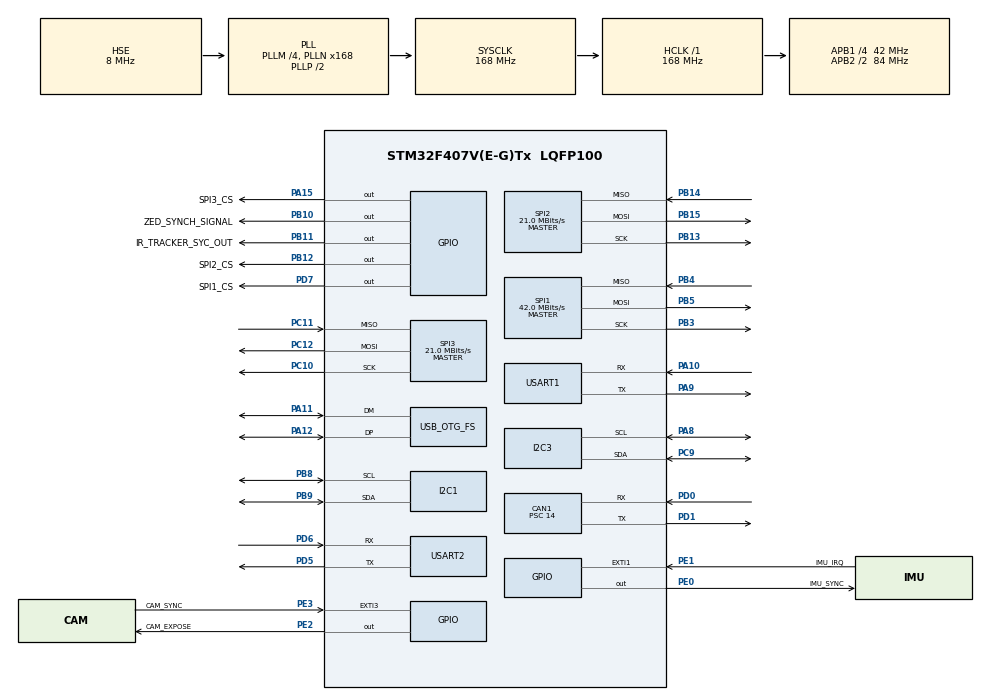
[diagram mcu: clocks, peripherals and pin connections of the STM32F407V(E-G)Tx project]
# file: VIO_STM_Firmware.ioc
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CAN1.BS1=CAN_BS1_3TQ
CAN1.BS2=CAN_BS2_2TQ
CAN1.CalculateTimeQuantum=333.33333333333337
CAN1.Prescaler=14
CAN1.SJW=CAN_SJW_2TQ
Mcu.Family=STM32F4
Mcu.Name=STM32F407V(E-G)Tx
Mcu.Package=LQFP100
NVIC.EXTI1_IRQn=true\:0\:0\:false\:false\:true\:true\:true
NVIC.EXTI3_IRQn=true\:0\:0\:false\:false\:true\:true\:true
NVIC.OTG_FS_IRQn=true\:0\:0\:false\:false\:true\:false\:true
NVIC.PriorityGroup=NVIC_PRIORITYGROUP_4
NVIC.TIM8_TRG_COM_TIM14_IRQn=true\:0\:0\:false\:false\:true\:true\:true
PA10.Mode=Asynchronous
PA10.Signal=USART1_RX
PA11.Mode=Device_Only
PA11.Signal=USB_OTG_FS_DM
PA12.Mode=Device_Only
PA12.Signal=USB_OTG_FS_DP
PA13.Mode=Serial_Wire
PA13.Signal=SYS_JTMS-SWDIO
PA14.Mode=Serial_Wire
PA14.Signal=SYS_JTCK-SWCLK
PA15.GPIO_Label=SPI3_CS
PA15.Signal=GPIO_Output
PA8.Mode=I2C
PA8.Signal=I2C3_SCL
PA9.Mode=Asynchronous
PA9.Signal=USART1_TX
PB10.GPIO_Label=ZED_SYNCH_SIGNAL
PB10.Signal=GPIO_Output
PB11.GPIO_Label=IR_TRACKER_SYC_OUT
PB11.Signal=GPIO_Output
PB12.GPIO_Label=SPI2_CS
PB12.Signal=GPIO_Output
PB13.Mode=Full_Duplex_Master
PB13.Signal=SPI2_SCK
PB14.Mode=Full_Duplex_Master
PB14.Signal=SPI2_MISO
PB15.Mode=Full_Duplex_Master
PB15.Signal=SPI2_MOSI
PB3.Mode=Full_Duplex_Master
PB3.Signal=SPI1_SCK
PB4.Mode=Full_Duplex_Master
PB4.Signal=SPI1_MISO
PB5.Mode=Full_Duplex_Master
PB5.Signal=SPI1_MOSI
PB8.Mode=I2C
PB8.Signal=I2C1_SCL
PB9.Mode=I2C
PB9.Signal=I2C1_SDA
PC10.Mode=Full_Duplex_Master
PC10.Signal=SPI3_SCK
PC11.Mode=Full_Duplex_Master
PC11.Signal=SPI3_MISO
PC12.Mode=Full_Duplex_Master
PC12.Signal=SPI3_MOSI
PC9.Mode=I2C
PC9.Signal=I2C3_SDA
PD0.Mode=Master
PD0.Signal=CAN1_RX
PD1.Mode=Master
PD1.Signal=CAN1_TX
PD5.Mode=Asynchronous
PD5.Signal=USART2_TX
PD6.Mode=Asynchronous
PD6.Signal=USART2_RX
PD7.GPIO_Label=SPI1_CS
PD7.Signal=GPIO_Output
PE0.GPIO_Label=IMU_SYNC
PE0.Signal=GPIO_Output
PE1.GPIO_Label=IMU_IRQ
PE1.GPIO_ModeDefaultEXTI=GPIO_MODE_IT_FALLING
PE1.GPIO_PuPd=GPIO_PULLUP
PE1.Signal=GPXTI1
PE2.GPIO_Label=CAM_EXPOSE
PE2.Signal=GPIO_Output
PE3.GPIO_Label=CAM_SYNC
PE3.Signal=GPXTI3
PH0-OSC_IN.Mode=HSE-External-Oscillator
PH0-OSC_IN.Signal=RCC_OSC_IN
PH1-OSC_OUT.Mode=HSE-External-Oscillator
PH1-OSC_OUT.Signal=RCC_OSC_OUT
ProjectManager.HeapSize=0x1000
ProjectManager.StackSize=0x1000
ProjectManager.TargetToolchain=MDK-ARM V5
RCC.48MHZClocksFreq_Value=48000000
RCC.AHBFreq_Value=168000000
RCC.APB1CLKDivider=RCC_HCLK_DIV4
RCC.APB1Freq_Value=42000000
RCC.APB1TimFreq_Value=84000000
RCC.APB2CLKDivider=RCC_HCLK_DIV2
RCC.APB2Freq_Value=84000000
RCC.APB2TimFreq_Value=168000000
RCC.CortexFreq_Value=168000000
RCC.HCLKFreq_Value=168000000
RCC.HSE_VALUE=8000000
RCC.HSI_VALUE=16000000
RCC.LSE_VALUE=32768
RCC.PLLM=4
RCC.PLLN=168
RCC.PLLQ=7
RCC.SYSCLKFreq_VALUE=168000000
RCC.SYSCLKSource=RCC_SYSCLKSOURCE_PLLCLK
RCC.VCOOutputFreq_Value=336000000
SPI1.BaudRatePrescaler=SPI_BAUDRATEPRESCALER_2
SPI1.CalculateBaudRate=42.0 MBits/s
SPI1.Direction=SPI_DIRECTION_2LINES
SPI1.Mode=SPI_MODE_MASTER
SPI1.VirtualType=VM_MASTER
SPI2.BaudRatePrescaler=SPI_BAUDRATEPRESCALER_2
SPI2.CalculateBaudRate=21.0 MBits/s
SPI2.Direction=SPI_DIRECTION_2LINES
SPI2.Mode=SPI_MODE_MASTER
SPI2.VirtualType=VM_MASTER
SPI3.BaudRatePrescaler=SPI_BAUDRATEPRESCALER_2
SPI3.CalculateBaudRate=21.0 MBits/s
SPI3.Direction=SPI_DIRECTION_2LINES
SPI3.Mode=SPI_MODE_MASTER
SPI3.VirtualType=VM_MASTER
TIM14.Period=64999
TIM14.Prescaler=83
USART1.VirtualMode=VM_ASYNC
USART2.VirtualMode=VM_ASYNC
USB_DEVICE.APP_RX_DATA_SIZE-CDC_FS=2048
USB_DEVICE.APP_TX_DATA_SIZE-CDC_FS=2048
USB_DEVICE.CLASS_NAME_FS=CDC
USB_DEVICE.USBD_MAX_NUM_CONFIGURATION-CDC_FS=2
USB_DEVICE.USBD_MAX_NUM_INTERFACES-CDC_FS=2
USB_DEVICE.VirtualMode-CDC_FS=Cdc
USB_DEVICE.VirtualModeFS=Cdc_FS
USB_OTG_FS.VirtualMode=Device_Only
VP_TIM14_VS_ClockSourceINT.Mode=Enable_Timer
VP_USB_DEVICE_VS_USB_DEVICE_CDC_FS.Mode=CDC_FS
board=custom

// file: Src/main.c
/* USER CODE BEGIN Header */
/**
  ******************************************************************************
  * @file           : main.c
  * @brief          : Main program body
  ******************************************************************************
  * @attention
  *
  * <h2><center>&copy; Copyright (c) 2019 STMicroelectronics.
  * All rights reserved.</center></h2>
  *
  * This software component is licensed by ST under Ultimate Liberty license
  * SLA0044, the "License"; You may not use this file except in compliance with
  * the License. You may obtain a copy of the License at:
  *                             www.st.com/SLA0044
  *
  ******************************************************************************
  */
/* USER CODE END Header */

#include "main.h"
#include "usb_device.h"

/* USER CODE BEGIN Includes */
#include "MPU9250_SPI.h"
#include "time_keeper.h"
#include "usbd_cdc_if.h"
#include "mt9v034.h"
/* USER CODE END Includes */

CAN_HandleTypeDef hcan1;

I2C_HandleTypeDef hi2c1;
I2C_HandleTypeDef hi2c3;

SPI_HandleTypeDef hspi1;
SPI_HandleTypeDef hspi2;
SPI_HandleTypeDef hspi3;

TIM_HandleTypeDef htim14;

UART_HandleTypeDef huart1;
UART_HandleTypeDef huart2;

/* USER CODE BEGIN PV */
CAN_RxHeaderTypeDef RMess;
CAN_TxHeaderTypeDef TMess;
uint8_t testRxBuffer[32];
uint8_t TxData[8] = {0};
uint32_t TxMailBox;
uint32_t len=0;
volatile int IMU_DATA_READY_FLAG=0;
  char outdata[100];
		struct mpuSensorData sensorData;
	struct DPL{
		int8_t h1;
		int8_t h2;
	  int8_t h3;
		int8_t h4;
		struct mpuSensorData Data;
		int64_t cameraTimeStamp;
		int64_t imuTimeStamp;
		int32_t togglingField;
	};
	union{
		struct DPL Data;
		uint8_t buffer[24+16 +4]; // 16 is added to acount for the Time stamps
	  }Packet;
/* USER CODE END PV */

void SystemClock_Config(void);
static void MX_GPIO_Init(void);
static void MX_CAN1_Init(void);
static void MX_I2C1_Init(void);
static void MX_I2C3_Init(void);
static void MX_SPI1_Init(void);
static void MX_SPI2_Init(void);
static void MX_SPI3_Init(void);
static void MX_USART1_UART_Init(void);
static void MX_USART2_UART_Init(void);
static void MX_TIM14_Init(void);

int main(void)
{
  /* USER CODE BEGIN 1 */
		uint8_t outdata[8];
	struct mpuSensorData sensorData;
	struct DPL{
		int16_t h1;
		int16_t h2;
		struct mpuSensorData Data;
	};

	union{
	struct{
		int16_t a;
		int16_t b;
		int16_t c;
		int16_t tmp;
	}Data;
	uint8_t buffer[8];
	}IMU_Mess;

	TMess.RTR = CAN_RTR_DATA;
  TMess.IDE = CAN_ID_STD;
  TMess.DLC = 0x2;
	TMess.StdId=0x1;
	TMess.TransmitGlobalTime = DISABLE;

  /* USER CODE END 1 */

  /* MCU Configuration--------------------------------------------------------*/

  /* Reset of all peripherals, Initializes the Flash interface and the Systick. */
  HAL_Init();

  /* Configure the system clock */
  SystemClock_Config();

  /* Initialize all configured peripherals */
  MX_GPIO_Init();
  MX_CAN1_Init();
  MX_I2C1_Init();
  MX_I2C3_Init();
  MX_SPI1_Init();
  MX_SPI2_Init();
  MX_SPI3_Init();
  MX_USART1_UART_Init();
  MX_USART2_UART_Init();
  MX_USB_DEVICE_Init();
  MX_TIM14_Init();
  /* USER CODE BEGIN 2 */
	NSS_HIGH;
	uint8_t data=00;
	HAL_SPI_Transmit(&hspi1,&data,1,100); //init the spi interface pin states
	HAL_Delay(10);
	mpuBegin();
  Packet.Data.togglingField=0;
	HAL_Delay(10);
	enableDataReadyInterrupt();
	timeManagerInit(&htim14); //Start the time manager stack for creating time stamps
	HAL_GPIO_WritePin(ZED_SYNCH_SIGNAL_GPIO_Port,ZED_SYNCH_SIGNAL_Pin,GPIO_PIN_SET);
	if (HAL_CAN_Start(&hcan1) != HAL_OK)
  {
    Error_Handler();
  }
	CAN_FilterTypeDef  sFilterConfig;
	sFilterConfig.FilterBank = 0;
  sFilterConfig.FilterMode = CAN_FILTERMODE_IDMASK;
  sFilterConfig.FilterScale = CAN_FILTERSCALE_32BIT;
  sFilterConfig.FilterIdHigh = 0x0000;
  sFilterConfig.FilterIdLow = 0x0000;
  sFilterConfig.FilterMaskIdHigh = 0x0000;
  sFilterConfig.FilterMaskIdLow = 0x0000;
  sFilterConfig.FilterFIFOAssignment = CAN_RX_FIFO0;
  sFilterConfig.FilterActivation = ENABLE;

	if (HAL_CAN_ConfigFilter(&hcan1, &sFilterConfig) != HAL_OK)
  {
    Error_Handler();
  }
	int cntr=0,cntr2=0;
	//Set Camera Parameters
	SNAPSHOT_MODE_Enable();
	AGC_AEC_DISABLE();
	SET_EXPOSURE(240);
	SET_DIGITAL_GAIN(12);
	SET_ANALOG_GAIN(30);
  /* USER CODE END 2 */

  /* Infinite loop */
  while (1)
  {

    /* USER CODE BEGIN 3 */
		if(IMU_DATA_READY_FLAG)//IMU Data is ready, send the data through the USB Port
		{
			IMU_DATA_READY_FLAG=0;
			mpuReadSensor(&sensorData);
		  Packet.Data.Data=sensorData;
			Packet.Data.imuTimeStamp=IMU_TimeStamp();
			Packet.Data.cameraTimeStamp=Camera_TimeStamp();
			Packet.Data.h1='a';
			Packet.Data.h2='b';
			Packet.Data.h3='c';
			Packet.Data.h4='\n';
			IMU_Mess.Data.tmp=0;
			cntr++;
			cntr2++;
			HAL_GPIO_WritePin(ZED_SYNCH_SIGNAL_GPIO_Port,ZED_SYNCH_SIGNAL_Pin,GPIO_PIN_SET);
			HAL_GPIO_WritePin(CAM_EXPOSE_GPIO_Port,CAM_EXPOSE_Pin,GPIO_PIN_RESET);
			HAL_GPIO_WritePin(IR_TRACKER_SYC_OUT_GPIO_Port,IR_TRACKER_SYC_OUT_Pin,GPIO_PIN_RESET);
			if(cntr==40)
			{
				cntr=0;
				HAL_GPIO_WritePin(CAM_EXPOSE_GPIO_Port,CAM_EXPOSE_Pin,GPIO_PIN_SET);
				HAL_GPIO_WritePin(ZED_SYNCH_SIGNAL_GPIO_Port,ZED_SYNCH_SIGNAL_Pin,GPIO_PIN_RESET);
				HAL_GPIO_WritePin(IR_TRACKER_SYC_OUT_GPIO_Port,IR_TRACKER_SYC_OUT_Pin,GPIO_PIN_SET);
				Packet.Data.togglingField=~Packet.Data.togglingField;
				if(IMU_Mess.Data.tmp==0)
					IMU_Mess.Data.tmp=1;
				else
					IMU_Mess.Data.tmp=0;
			}
			//if(cntr2==5)
			//{
				//cntr2=0;
				CDC_Transmit_FS(Packet.buffer,sizeof(Packet.buffer));
			//}

				if(HAL_CAN_GetTxMailboxesFreeLevel(&hcan1)>2)
				{
					TMess.DLC=sizeof(IMU_Mess.buffer);
					TMess.StdId=0x01; //Accelerometer
					IMU_Mess.Data.a=sensorData.ax;
					IMU_Mess.Data.b=sensorData.ay;
					IMU_Mess.Data.c=sensorData.az;
					memcpy((uint8_t*)outdata,IMU_Mess.buffer,sizeof(IMU_Mess.buffer));
					if(HAL_CAN_AddTxMessage(&hcan1, &TMess, outdata, &TxMailBox)!=HAL_OK){Error_Handler();}
					TMess.DLC=sizeof(IMU_Mess.buffer);
					TMess.StdId=0x02; //gyroscope
					IMU_Mess.Data.a=sensorData.gx;
					IMU_Mess.Data.b=sensorData.gy;
					IMU_Mess.Data.c=sensorData.gz;
					memcpy((uint8_t*)outdata,IMU_Mess.buffer,sizeof(IMU_Mess.buffer));
					if(HAL_CAN_AddTxMessage(&hcan1, &TMess, outdata, &TxMailBox)!=HAL_OK){Error_Handler();}
					TMess.DLC=sizeof(IMU_Mess.buffer);
					TMess.StdId=0x03; //magnetometer
					IMU_Mess.Data.a=sensorData.hx;
					IMU_Mess.Data.b=sensorData.hy;
					IMU_Mess.Data.c=sensorData.hz;
					memcpy((uint8_t*)outdata,IMU_Mess.buffer,sizeof(IMU_Mess.buffer));
					if(HAL_CAN_AddTxMessage(&hcan1, &TMess, outdata, &TxMailBox)!=HAL_OK){Error_Handler();}
					//TMess.DLC=sizeof(Barometer_Mess.buffer);
					//TMess.StdId=0x04; //barometer
					//Barometer_Mess.Data.barometer=35;
					//memcpy((uint8_t*)outdata,Barometer_Mess.buffer,sizeof(Barometer_Mess.buffer));
					//while(HAL_CAN_GetTxMailboxesFreeLevel(&hcan1)==0);
			}
		}
  }
  /* USER CODE END 3 */
}

void SystemClock_Config(void)
{
  RCC_OscInitTypeDef RCC_OscInitStruct = {0};
  RCC_ClkInitTypeDef RCC_ClkInitStruct = {0};

  /** Configure the main internal regulator output voltage
  */
  __HAL_RCC_PWR_CLK_ENABLE();
  __HAL_PWR_VOLTAGESCALING_CONFIG(PWR_REGULATOR_VOLTAGE_SCALE1);
  /** Initializes the CPU, AHB and APB busses clocks
  */
  RCC_OscInitStruct.OscillatorType = RCC_OSCILLATORTYPE_HSE;
  RCC_OscInitStruct.HSEState = RCC_HSE_ON;
  RCC_OscInitStruct.PLL.PLLState = RCC_PLL_ON;
  RCC_OscInitStruct.PLL.PLLSource = RCC_PLLSOURCE_HSE;
  RCC_OscInitStruct.PLL.PLLM = 4;
  RCC_OscInitStruct.PLL.PLLN = 168;
  RCC_OscInitStruct.PLL.PLLP = RCC_PLLP_DIV2;
  RCC_OscInitStruct.PLL.PLLQ = 7;
  if (HAL_RCC_OscConfig(&RCC_OscInitStruct) != HAL_OK)
  {
    Error_Handler();
  }
  /** Initializes the CPU, AHB and APB busses clocks
  */
  RCC_ClkInitStruct.ClockType = RCC_CLOCKTYPE_HCLK|RCC_CLOCKTYPE_SYSCLK
                              |RCC_CLOCKTYPE_PCLK1|RCC_CLOCKTYPE_PCLK2;
  RCC_ClkInitStruct.SYSCLKSource = RCC_SYSCLKSOURCE_PLLCLK;
  RCC_ClkInitStruct.AHBCLKDivider = RCC_SYSCLK_DIV1;
  RCC_ClkInitStruct.APB1CLKDivider = RCC_HCLK_DIV4;
  RCC_ClkInitStruct.APB2CLKDivider = RCC_HCLK_DIV2;

  if (HAL_RCC_ClockConfig(&RCC_ClkInitStruct, FLASH_LATENCY_5) != HAL_OK)
  {
    Error_Handler();
  }
}

static void MX_CAN1_Init(void)
{

  hcan1.Instance = CAN1;
  hcan1.Init.Prescaler = 14;
  hcan1.Init.Mode = CAN_MODE_NORMAL;
  hcan1.Init.SyncJumpWidth = CAN_SJW_2TQ;
  hcan1.Init.TimeSeg1 = CAN_BS1_3TQ;
  hcan1.Init.TimeSeg2 = CAN_BS2_2TQ;
  hcan1.Init.TimeTriggeredMode = DISABLE;
  hcan1.Init.AutoBusOff = DISABLE;
  hcan1.Init.AutoWakeUp = DISABLE;
  hcan1.Init.AutoRetransmission = DISABLE;
  hcan1.Init.ReceiveFifoLocked = DISABLE;
  hcan1.Init.TransmitFifoPriority = DISABLE;
  if (HAL_CAN_Init(&hcan1) != HAL_OK)
  {
    Error_Handler();
  }

}

static void MX_I2C1_Init(void)
{

  hi2c1.Instance = I2C1;
  hi2c1.Init.ClockSpeed = 100000;
  hi2c1.Init.DutyCycle = I2C_DUTYCYCLE_2;
  hi2c1.Init.OwnAddress1 = 0;
  hi2c1.Init.AddressingMode = I2C_ADDRESSINGMODE_7BIT;
  hi2c1.Init.DualAddressMode = I2C_DUALADDRESS_DISABLE;
  hi2c1.Init.OwnAddress2 = 0;
  hi2c1.Init.GeneralCallMode = I2C_GENERALCALL_DISABLE;
  hi2c1.Init.NoStretchMode = I2C_NOSTRETCH_DISABLE;
  if (HAL_I2C_Init(&hi2c1) != HAL_OK)
  {
    Error_Handler();
  }

}

static void MX_I2C3_Init(void)
{

  hi2c3.Instance = I2C3;
  hi2c3.Init.ClockSpeed = 100000;
  hi2c3.Init.DutyCycle = I2C_DUTYCYCLE_2;
  hi2c3.Init.OwnAddress1 = 0;
  hi2c3.Init.AddressingMode = I2C_ADDRESSINGMODE_7BIT;
  hi2c3.Init.DualAddressMode = I2C_DUALADDRESS_DISABLE;
  hi2c3.Init.OwnAddress2 = 0;
  hi2c3.Init.GeneralCallMode = I2C_GENERALCALL_DISABLE;
  hi2c3.Init.NoStretchMode = I2C_NOSTRETCH_DISABLE;
  if (HAL_I2C_Init(&hi2c3) != HAL_OK)
  {
    Error_Handler();
  }

}

static void MX_SPI1_Init(void)
{

  /* SPI1 parameter configuration*/
  hspi1.Instance = SPI1;
  hspi1.Init.Mode = SPI_MODE_MASTER;
  hspi1.Init.Direction = SPI_DIRECTION_2LINES;
  hspi1.Init.DataSize = SPI_DATASIZE_8BIT;
  hspi1.Init.CLKPolarity = SPI_POLARITY_LOW;
  hspi1.Init.CLKPhase = SPI_PHASE_1EDGE;
  hspi1.Init.NSS = SPI_NSS_SOFT;
  hspi1.Init.BaudRatePrescaler = SPI_BAUDRATEPRESCALER_2;
  hspi1.Init.FirstBit = SPI_FIRSTBIT_MSB;
  hspi1.Init.TIMode = SPI_TIMODE_DISABLE;
  hspi1.Init.CRCCalculation = SPI_CRCCALCULATION_DISABLE;
  hspi1.Init.CRCPolynomial = 10;
  if (HAL_SPI_Init(&hspi1) != HAL_OK)
  {
    Error_Handler();
  }

}

static void MX_SPI2_Init(void)
{

  /* SPI2 parameter configuration*/
  hspi2.Instance = SPI2;
  hspi2.Init.Mode = SPI_MODE_MASTER;
  hspi2.Init.Direction = SPI_DIRECTION_2LINES;
  hspi2.Init.DataSize = SPI_DATASIZE_8BIT;
  hspi2.Init.CLKPolarity = SPI_POLARITY_LOW;
  hspi2.Init.CLKPhase = SPI_PHASE_1EDGE;
  hspi2.Init.NSS = SPI_NSS_SOFT;
  hspi2.Init.BaudRatePrescaler = SPI_BAUDRATEPRESCALER_2;
  hspi2.Init.FirstBit = SPI_FIRSTBIT_MSB;
  hspi2.Init.TIMode = SPI_TIMODE_DISABLE;
  hspi2.Init.CRCCalculation = SPI_CRCCALCULATION_DISABLE;
  hspi2.Init.CRCPolynomial = 10;
  if (HAL_SPI_Init(&hspi2) != HAL_OK)
  {
    Error_Handler();
  }

}

static void MX_SPI3_Init(void)
{

  /* SPI3 parameter configuration*/
  hspi3.Instance = SPI3;
  hspi3.Init.Mode = SPI_MODE_MASTER;
  hspi3.Init.Direction = SPI_DIRECTION_2LINES;
  hspi3.Init.DataSize = SPI_DATASIZE_8BIT;
  hspi3.Init.CLKPolarity = SPI_POLARITY_LOW;
  hspi3.Init.CLKPhase = SPI_PHASE_1EDGE;
  hspi3.Init.NSS = SPI_NSS_SOFT;
  hspi3.Init.BaudRatePrescaler = SPI_BAUDRATEPRESCALER_2;
  hspi3.Init.FirstBit = SPI_FIRSTBIT_MSB;
  hspi3.Init.TIMode = SPI_TIMODE_DISABLE;
  hspi3.Init.CRCCalculation = SPI_CRCCALCULATION_DISABLE;
  hspi3.Init.CRCPolynomial = 10;
  if (HAL_SPI_Init(&hspi3) != HAL_OK)
  {
    Error_Handler();
  }

}

static void MX_TIM14_Init(void)
{

  htim14.Instance = TIM14;
  htim14.Init.Prescaler = 83;
  htim14.Init.CounterMode = TIM_COUNTERMODE_UP;
  htim14.Init.Period = 64999;
  htim14.Init.ClockDivision = TIM_CLOCKDIVISION_DIV1;
  htim14.Init.AutoReloadPreload = TIM_AUTORELOAD_PRELOAD_DISABLE;
  if (HAL_TIM_Base_Init(&htim14) != HAL_OK)
  {
    Error_Handler();
  }

}

static void MX_USART1_UART_Init(void)
{

  huart1.Instance = USART1;
  huart1.Init.BaudRate = 115200;
  huart1.Init.WordLength = UART_WORDLENGTH_8B;
  huart1.Init.StopBits = UART_STOPBITS_1;
  huart1.Init.Parity = UART_PARITY_NONE;
  huart1.Init.Mode = UART_MODE_TX_RX;
  huart1.Init.HwFlowCtl = UART_HWCONTROL_NONE;
  huart1.Init.OverSampling = UART_OVERSAMPLING_16;
  if (HAL_UART_Init(&huart1) != HAL_OK)
  {
    Error_Handler();
  }

}

static void MX_USART2_UART_Init(void)
{

  huart2.Instance = USART2;
  huart2.Init.BaudRate = 115200;
  huart2.Init.WordLength = UART_WORDLENGTH_8B;
  huart2.Init.StopBits = UART_STOPBITS_1;
  huart2.Init.Parity = UART_PARITY_NONE;
  huart2.Init.Mode = UART_MODE_TX_RX;
  huart2.Init.HwFlowCtl = UART_HWCONTROL_NONE;
  huart2.Init.OverSampling = UART_OVERSAMPLING_16;
  if (HAL_UART_Init(&huart2) != HAL_OK)
  {
    Error_Handler();
  }

}

static void MX_GPIO_Init(void)
{
  GPIO_InitTypeDef GPIO_InitStruct = {0};

  /* GPIO Ports Clock Enable */
  __HAL_RCC_GPIOE_CLK_ENABLE();
  __HAL_RCC_GPIOH_CLK_ENABLE();
  __HAL_RCC_GPIOB_CLK_ENABLE();
  __HAL_RCC_GPIOC_CLK_ENABLE();
  __HAL_RCC_GPIOA_CLK_ENABLE();
  __HAL_RCC_GPIOD_CLK_ENABLE();

  /*Configure GPIO pin Output Level */
  HAL_GPIO_WritePin(GPIOE, CAM_EXPOSE_Pin|IMU_SYNC_Pin, GPIO_PIN_RESET);

  /*Configure GPIO pin Output Level */
  HAL_GPIO_WritePin(GPIOB, ZED_SYNCH_SIGNAL_Pin|IR_TRACKER_SYC_OUT_Pin|SPI2_CS_Pin, GPIO_PIN_RESET);

  /*Configure GPIO pin Output Level */
  HAL_GPIO_WritePin(SPI3_CS_GPIO_Port, SPI3_CS_Pin, GPIO_PIN_RESET);

  /*Configure GPIO pin Output Level */
  HAL_GPIO_WritePin(SPI1_CS_GPIO_Port, SPI1_CS_Pin, GPIO_PIN_RESET);

  /*Configure GPIO pins : CAM_EXPOSE_Pin IMU_SYNC_Pin */
  GPIO_InitStruct.Pin = CAM_EXPOSE_Pin|IMU_SYNC_Pin;
  GPIO_InitStruct.Mode = GPIO_MODE_OUTPUT_PP;
  GPIO_InitStruct.Pull = GPIO_NOPULL;
  GPIO_InitStruct.Speed = GPIO_SPEED_FREQ_LOW;
  HAL_GPIO_Init(GPIOE, &GPIO_InitStruct);

  /*Configure GPIO pin : CAM_SYNC_Pin */
  GPIO_InitStruct.Pin = CAM_SYNC_Pin;
  GPIO_InitStruct.Mode = GPIO_MODE_IT_RISING;
  GPIO_InitStruct.Pull = GPIO_NOPULL;
  HAL_GPIO_Init(CAM_SYNC_GPIO_Port, &GPIO_InitStruct);

  /*Configure GPIO pins : ZED_SYNCH_SIGNAL_Pin IR_TRACKER_SYC_OUT_Pin SPI2_CS_Pin */
  GPIO_InitStruct.Pin = ZED_SYNCH_SIGNAL_Pin|IR_TRACKER_SYC_OUT_Pin|SPI2_CS_Pin;
  GPIO_InitStruct.Mode = GPIO_MODE_OUTPUT_PP;
  GPIO_InitStruct.Pull = GPIO_NOPULL;
  GPIO_InitStruct.Speed = GPIO_SPEED_FREQ_LOW;
  HAL_GPIO_Init(GPIOB, &GPIO_InitStruct);

  /*Configure GPIO pin : SPI3_CS_Pin */
  GPIO_InitStruct.Pin = SPI3_CS_Pin;
  GPIO_InitStruct.Mode = GPIO_MODE_OUTPUT_PP;
  GPIO_InitStruct.Pull = GPIO_NOPULL;
  GPIO_InitStruct.Speed = GPIO_SPEED_FREQ_LOW;
  HAL_GPIO_Init(SPI3_CS_GPIO_Port, &GPIO_InitStruct);

  /*Configure GPIO pin : SPI1_CS_Pin */
  GPIO_InitStruct.Pin = SPI1_CS_Pin;
  GPIO_InitStruct.Mode = GPIO_MODE_OUTPUT_PP;
  GPIO_InitStruct.Pull = GPIO_NOPULL;
  GPIO_InitStruct.Speed = GPIO_SPEED_FREQ_LOW;
  HAL_GPIO_Init(SPI1_CS_GPIO_Port, &GPIO_InitStruct);

  /*Configure GPIO pin : IMU_IRQ_Pin */
  GPIO_InitStruct.Pin = IMU_IRQ_Pin;
  GPIO_InitStruct.Mode = GPIO_MODE_IT_FALLING;
  GPIO_InitStruct.Pull = GPIO_PULLUP;
  HAL_GPIO_Init(IMU_IRQ_GPIO_Port, &GPIO_InitStruct);

  /* EXTI interrupt init*/
  HAL_NVIC_SetPriority(EXTI1_IRQn, 0, 0);
  HAL_NVIC_EnableIRQ(EXTI1_IRQn);

  HAL_NVIC_SetPriority(EXTI3_IRQn, 0, 0);
  HAL_NVIC_EnableIRQ(EXTI3_IRQn);

}

/* USER CODE BEGIN 4 */
void HAL_GPIO_EXTI_Callback(uint16_t GPIO_Pin)
{
	switch(GPIO_Pin)
	{
		case IMU_IRQ_Pin:
			IMU_DATA_READY_FLAG=1; //Set the Data ready flag on the arival of a new data
			IMU_Tick(); // Record the time stamp for the IMU packet
			break;
		case CAM_SYNC_Pin:
			Camera_Tick(); //Record the time stamp for the Camera frame
			break;
	}
}
/* USER CODE END 4 */

void Error_Handler(void)
{
}

/************************ (C) COPYRIGHT STMicroelectronics *****END OF FILE****/
